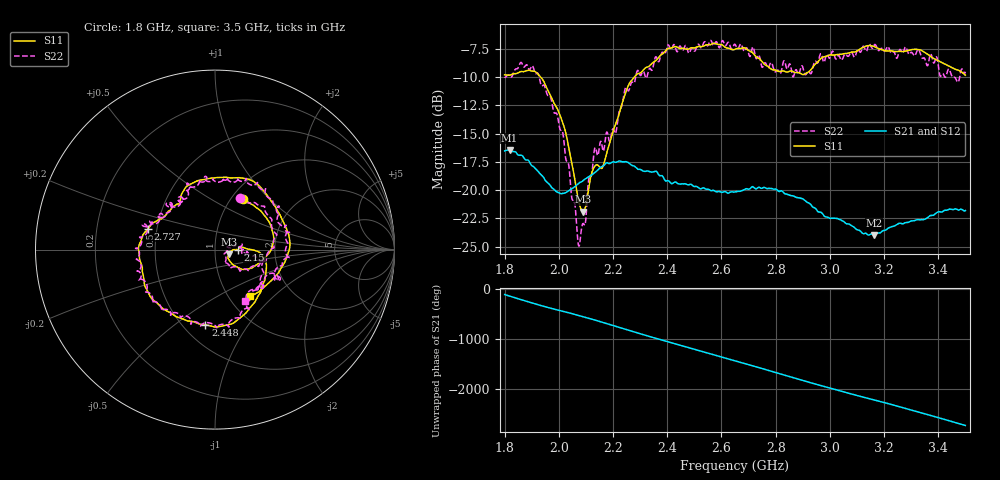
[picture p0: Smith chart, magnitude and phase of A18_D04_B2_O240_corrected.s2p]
! Created with skrf 1.9.0 (http://scikit-rf.org).
# Hz S RI R 50.0
!freq ReS11 ImS11 ReS21 ImS21 ReS12 ImS12 ReS22 ImS22
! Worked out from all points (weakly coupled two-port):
!   1601 points, 1.8 GHz to 3.5 GHz, reference 50 ohm
!   highest |S21| = -16.45 dB at 1.818 GHz (marker M1); lowest = -24.0 dB at 3.163 GHz (marker M2)
!   lowest |S11| = -21.9 dB at 2.09 GHz (marker M3), VSWR 1.17, Z = 58.2 - j3 ohm
!   |S11| at or under -10 dB: 1.933 GHz to 2.279 GHz (345.9 MHz wide, 16.4 % of centre)
!   |S22| runs from -25.0 to -6.8 dB; largest |S21 - S12| = 0.0024
!   S11 on the Smith chart (normalised r, x): 1.8 GHz: 1.13, +0.71; 2.15 GHz: 1.29, -0.00; 2.448 GHz: 0.64, -0.65; 2.727 GHz: 0.45, +0.12; 3.5 GHz: 1.25, -0.72
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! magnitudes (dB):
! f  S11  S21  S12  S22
! 1.8 GHz  -9.8  -16.5  -16.5  -10.0
! 1.818 GHz  -9.8  -16.5  -16.5  -9.9
! 1.902 GHz  -9.5  -17.9  -17.8  -9.0
! 1.968 GHz  -11.6  -19.6  -19.6  -11.7
! 2.015 GHz  -14.1  -20.3  -20.3  -14.9
! 2.072 GHz  -20.8  -19.4  -19.5  -24.8
! 2.084 GHz  -21.7  -19.3  -19.2  -23.4
! 2.09 GHz  -21.9  -19.1  -19.2  -22.9
! 2.13 GHz  -18.0  -18.5  -18.5  -16.6
! 2.15 GHz  -17.9  -18.1  -18.1  -16.2
! 2.209 GHz  -14.2  -17.5  -17.5  -15.0
! 2.26 GHz  -10.6  -17.6  -17.6  -11.1
! 2.367 GHz  -8.3  -18.6  -18.5  -8.6
! 2.448 GHz  -7.5  -19.5  -19.5  -7.3
! 2.65 GHz  -7.5  -20.2  -20.1  -7.1
! 2.727 GHz  -8.2  -19.9  -19.9  -8.3
! 2.934 GHz  -9.2  -21.4  -21.4  -9.5
! 3.163 GHz  -7.3  -24.0  -24.0  -7.2
! 3.217 GHz  -7.7  -23.3  -23.3  -7.4
! 3.332 GHz  -7.6  -22.6  -22.6  -7.8
! 3.414 GHz  -8.7  -21.9  -21.9  -9.7
! 3.5 GHz  -9.8  -21.8  -21.8  -9.5
